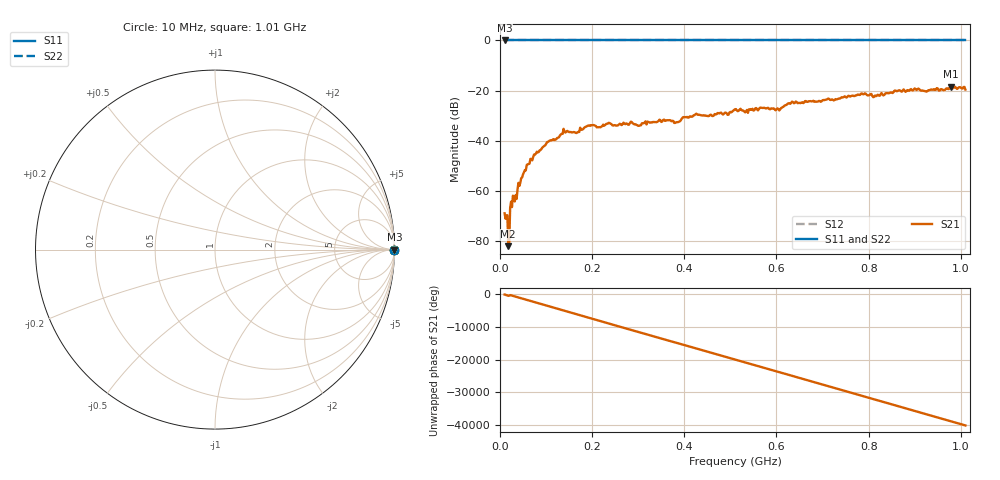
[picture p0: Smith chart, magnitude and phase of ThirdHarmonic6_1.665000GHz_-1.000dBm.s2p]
! 8/16/2025 7:57:36 PM
! C:\ANRITSUVNA\TEMP\TEMP.S2P
! CHANNEL.1
! TR.MEASUREMENT
! RAW.DATA
! RF.CORRECTION.OFF
! AVERAGING.OFF
! IF.BANDWIDTH: 5KHZ
! SWEEPTYPE:  FREQ.SWEEP(Linear)
! Reference Plane Port Info
! PORT:  PORT1  PORT2
! DISTANCE:  0  m  0  m
! TIME:  0  s  0  s
! PHASE.OFFSET:  0  deg.  0  deg.
! LOSS:  0  dB  0  dB
! REF.LOSS:  0  dB  0  dB
! REF.FREQ:  0  Hz  0  Hz
! Power Info
! POWER:  -20  dBm  -20  dBm
! EFF.POWER:  -20  dBm  -20  dBm
! SOURCE.ATTEN:  0  dB  0  dB
! TEST.ATTEN:  0  dB  0  dB
# GHZ S RI R 50.0
! FREQ.GHZ  S11RE  S11IM  S21RE  S21IM  S12RE  S12IM  S22RE  S22IM
!; PortSelection: Port_12
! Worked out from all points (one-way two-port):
!   501 points, 10 MHz to 1.01 GHz, reference 50 ohm
!   highest |S21| = -18.43 dB at 978 MHz (marker M1); lowest = -82.2 dB at 18 MHz (marker M2)
!   lowest |S11| = 0.0 dB at 10 MHz (marker M3)
!   |S11| at or under -10 dB: nowhere
!   |S22| runs from 0.0 to 0.0 dB; largest |S21 - S12| = 1.1
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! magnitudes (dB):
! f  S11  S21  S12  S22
! 10 MHz  0.0  -69.1  0.0  0.0
! 12 MHz  0.0  -71.2  0.0  0.0
! 16 MHz  0.0  -69.8  0.0  0.0
! 18 MHz  0.0  -82.2  0.0  0.0
! 22 MHz  0.0  -66.9  0.0  0.0
! 26 MHz  0.0  -66.6  0.0  0.0
! 34 MHz  0.0  -61.8  0.0  0.0
! 56 MHz  0.0  -51.9  0.0  0.0
! 76 MHz  0.0  -45.6  0.0  0.0
! 136 MHz  0.0  -37.3  0.0  0.0
! 178 MHz  0.0  -35.6  0.0  0.0
! 344 MHz  0.0  -32.2  0.0  0.0
! 382 MHz  0.0  -32.7  0.0  0.0
! 424 MHz  0.0  -29.5  0.0  0.0
! 494 MHz  0.0  -29.7  0.0  0.0
! 510 MHz  0.0  -27.5  0.0  0.0
! 602 MHz  0.0  -27.1  0.0  0.0
! 632 MHz  0.0  -24.8  0.0  0.0
! 678 MHz  0.0  -24.3  0.0  0.0
! 844 MHz  0.0  -21.1  0.0  0.0
! 978 MHz  0.0  -18.4  0.0  0.0
! 1.01 GHz  0.0  -19.6  0.0  0.0
